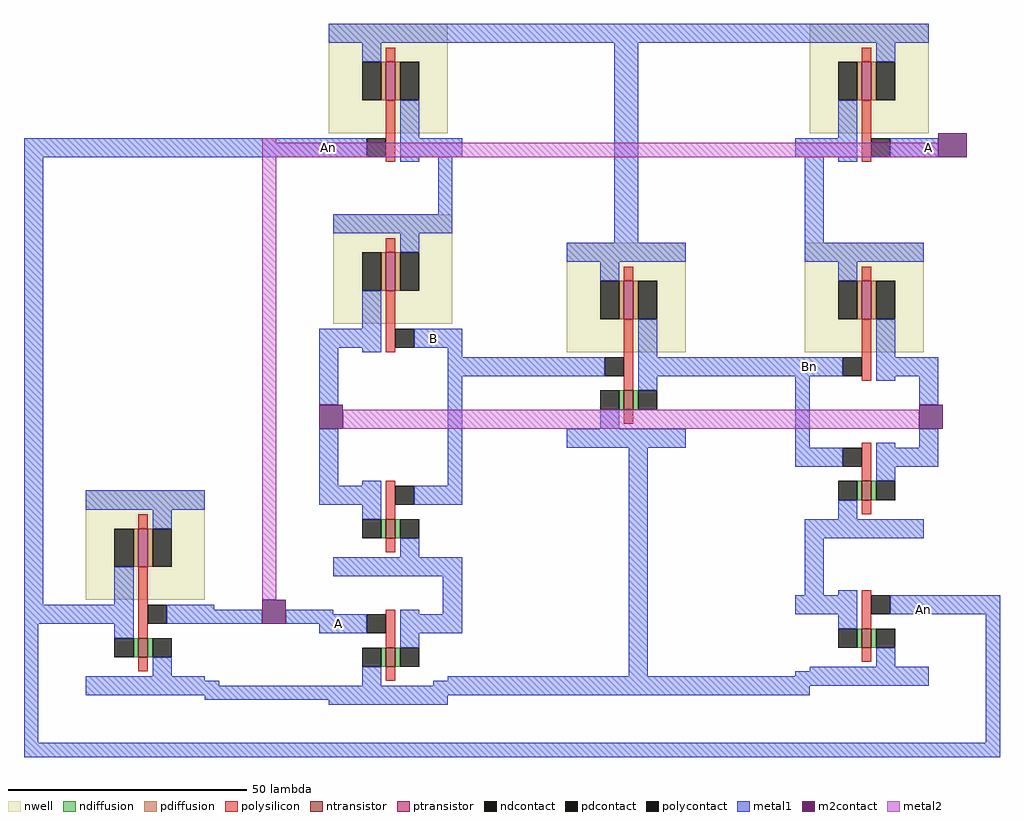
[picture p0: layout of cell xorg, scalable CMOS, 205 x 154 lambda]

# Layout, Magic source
magic
tech scmos
<< metal1 >>
rect 27 25 103 29
rect -62 1 0 5
rect -62 -93 -58 1
rect 25 -11 28 1
rect 62 -17 67 25
rect 102 -17 106 1
rect 0 -51 4 -39
rect 27 -41 30 -39
rect 27 -45 50 -41
rect 80 -45 100 -41
rect 0 -68 4 -56
rect 27 -68 30 -45
rect 100 -60 103 -45
rect 126 -51 130 -45
rect 126 -60 130 -56
rect -62 -97 -52 -93
rect -22 -97 -12 -94
rect -7 -95 3 -94
rect 26 -95 30 -83
rect -7 -97 0 -95
rect -62 -122 -59 -97
rect 65 -108 69 -60
rect 102 -91 106 -79
rect 130 -95 143 -91
rect 100 -108 103 -107
rect 27 -109 103 -108
rect -24 -110 -21 -109
rect 24 -110 103 -109
rect -24 -113 2 -110
rect 27 -112 103 -110
rect 140 -122 143 -95
rect -62 -125 143 -122
<< m2contact >>
rect 130 1 136 6
rect 0 -56 5 -51
rect 126 -56 131 -51
rect -12 -97 -7 -92
<< metal2 >>
rect -12 4 -9 5
rect -12 1 130 4
rect -12 -92 -9 1
rect 5 -56 126 -52
use inverter  inverter_0
transform -1 0 -32 0 1 -87
box -10 -25 20 18
use nmos  nmos_1
transform 1 0 10 0 1 -89
box -10 -25 20 -5
use nmos  nmos_0
transform -1 0 20 0 1 -62
box -10 -25 20 -5
use nmos  nmos_2
transform 1 0 110 0 1 -54
box -10 -25 20 -5
use nmos  nmos_3
transform -1 0 120 0 1 -85
box -10 -25 20 -5
use pmos  pmos_1
transform -1 0 20 0 1 -29
box -10 -11 20 18
use pmos  pmos_3
transform 1 0 110 0 1 -35
box -10 -11 20 18
use inverter  inverter_1
transform 1 0 60 0 1 -35
box -10 -25 20 18
use pmos  pmos_0
transform 1 0 10 0 1 11
box -10 -11 20 18
use pmos  pmos_2
transform -1 0 120 0 1 11
box -10 -11 20 18
<< labels >>
rlabel metal2 2 3 2 3 3 An
rlabel space 24 -37 24 -37 1 B
rlabel space 4 -97 4 -97 3 A
rlabel metal2 128 3 128 3 7 A
rlabel space 103 -43 103 -43 1 Bn
rlabel space 127 -94 127 -94 7 An
<< end >>

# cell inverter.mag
magic
tech scmos
<< nwell >>
rect -8 -5 17 18
<< ntransistor >>
rect 4 -17 6 -13
<< ptransistor >>
rect 4 2 6 10
<< ndiffusion >>
rect 3 -17 4 -13
rect 6 -17 7 -13
<< pdiffusion >>
rect 3 2 4 10
rect 6 2 7 10
<< ndcontact >>
rect -1 -17 3 -13
rect 7 -17 11 -13
<< pdcontact >>
rect -1 2 3 10
rect 7 2 11 10
<< polysilicon >>
rect 4 10 6 13
rect 4 -13 6 2
rect 4 -20 6 -17
<< polycontact >>
rect 0 -10 4 -6
<< metal1 >>
rect -8 14 17 18
rect -1 10 3 14
rect 7 -6 11 2
rect -10 -10 0 -6
rect 7 -10 20 -6
rect 7 -13 11 -10
rect -1 -21 3 -17
rect -8 -25 17 -21
<< labels >>
rlabel metal1 -8 -8 -8 -8 3 in
rlabel metal1 19 -8 19 -8 7 out
rlabel metal1 3 16 3 16 5 vdd!
rlabel metal1 2 -23 2 -23 1 gnd!
<< end >>

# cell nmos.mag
magic
tech scmos
<< ntransistor >>
rect 4 -17 6 -13
<< ndiffusion >>
rect 3 -17 4 -13
rect 6 -17 7 -13
<< ndcontact >>
rect -1 -17 3 -13
rect 7 -17 11 -13
<< polysilicon >>
rect 4 -13 6 -5
rect 4 -20 6 -17
<< polycontact >>
rect 0 -10 4 -6
<< metal1 >>
rect 7 -6 11 -5
rect -10 -10 0 -6
rect 7 -10 20 -6
rect 7 -13 11 -10
rect -1 -21 3 -17
rect -8 -25 17 -21
<< end >>

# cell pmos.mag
magic
tech scmos
<< nwell >>
rect -8 -5 17 18
<< ptransistor >>
rect 4 2 6 10
<< pdiffusion >>
rect 3 2 4 10
rect 6 2 7 10
<< pdcontact >>
rect -1 2 3 10
rect 7 2 11 10
<< polysilicon >>
rect 4 10 6 13
rect 4 -11 6 2
<< polycontact >>
rect 0 -10 4 -6
<< metal1 >>
rect -8 14 17 18
rect -1 10 3 14
rect 7 -6 11 2
rect -10 -10 0 -6
rect 7 -10 20 -6
rect 7 -11 11 -10
<< end >>
